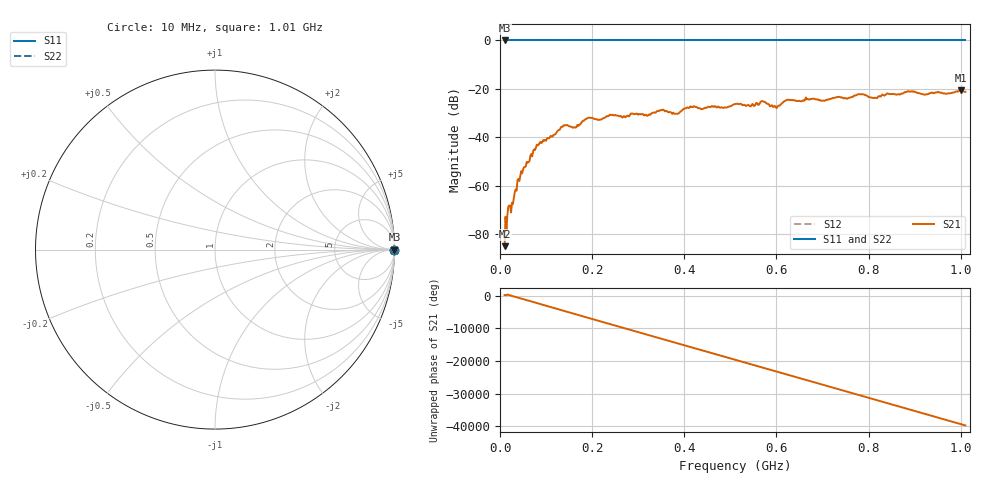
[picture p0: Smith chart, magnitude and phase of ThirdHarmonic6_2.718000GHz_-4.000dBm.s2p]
! 8/17/2025 6:36:27 AM
! C:\ANRITSUVNA\TEMP\TEMP.S2P
! CHANNEL.1
! TR.MEASUREMENT
! RAW.DATA
! RF.CORRECTION.OFF
! AVERAGING.OFF
! IF.BANDWIDTH: 5KHZ
! SWEEPTYPE:  FREQ.SWEEP(Linear)
! Reference Plane Port Info
! PORT:  PORT1  PORT2
! DISTANCE:  0  m  0  m
! TIME:  0  s  0  s
! PHASE.OFFSET:  0  deg.  0  deg.
! LOSS:  0  dB  0  dB
! REF.LOSS:  0  dB  0  dB
! REF.FREQ:  0  Hz  0  Hz
! Power Info
! POWER:  -20  dBm  -20  dBm
! EFF.POWER:  -20  dBm  -20  dBm
! SOURCE.ATTEN:  0  dB  0  dB
! TEST.ATTEN:  0  dB  0  dB
# GHZ S RI R 50.0
! FREQ.GHZ  S11RE  S11IM  S21RE  S21IM  S12RE  S12IM  S22RE  S22IM
!; PortSelection: Port_12
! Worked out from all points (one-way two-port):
!   501 points, 10 MHz to 1.01 GHz, reference 50 ohm
!   highest |S21| = -20.56 dB at 1 GHz (marker M1); lowest = -85.1 dB at 10 MHz (marker M2)
!   lowest |S11| = 0.0 dB at 10 MHz (marker M3)
!   |S11| at or under -10 dB: nowhere
!   |S22| runs from 0.0 to 0.0 dB; largest |S21 - S12| = 1.1
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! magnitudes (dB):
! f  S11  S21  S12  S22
! 10 MHz  0.0  -85.1  0.0  0.0
! 16 MHz  0.0  -72.3  0.0  0.0
! 28 MHz  0.0  -67.6  0.0  0.0
! 42 MHz  0.0  -58.1  0.0  0.0
! 76 MHz  0.0  -45.3  0.0  0.0
! 136 MHz  0.0  -35.7  0.0  0.0
! 162 MHz  0.0  -35.9  0.0  0.0
! 178 MHz  0.0  -33.6  0.0  0.0
! 194 MHz  0.0  -32.0  0.0  0.0
! 344 MHz  0.0  -29.2  0.0  0.0
! 384 MHz  0.0  -30.3  0.0  0.0
! 416 MHz  0.0  -27.5  0.0  0.0
! 510 MHz  0.0  -26.3  0.0  0.0
! 570 MHz  0.0  -25.1  0.0  0.0
! 598 MHz  0.0  -27.4  0.0  0.0
! 624 MHz  0.0  -24.5  0.0  0.0
! 678 MHz  0.0  -24.1  0.0  0.0
! 782 MHz  0.0  -22.3  0.0  0.0
! 814 MHz  0.0  -23.7  0.0  0.0
! 844 MHz  0.0  -22.1  0.0  0.0
! 1 GHz  0.0  -20.6  0.0  0.0
! 1.01 GHz  0.0  -21.2  0.0  0.0
